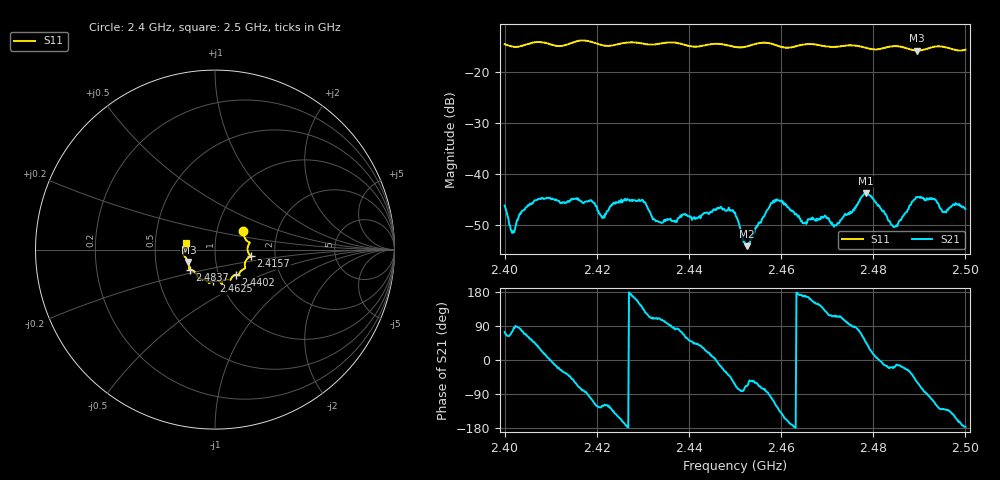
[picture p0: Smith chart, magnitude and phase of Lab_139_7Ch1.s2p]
# Hz S RI R 50
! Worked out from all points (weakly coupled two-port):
!   601 points, 2.4 GHz to 2.5 GHz, reference 50 ohm
!   highest |S21| = -43.69 dB at 2.4783 GHz (marker M1); lowest = -54.1 dB at 2.4525 GHz (marker M2)
!   lowest |S11| = -15.7 dB at 2.4895 GHz (marker M3), VSWR 1.39, Z = 36.8 - j5.16 ohm
!   |S11| at or under -10 dB: start of sweep to end of sweep
!   S12 and S22 are empty: the file has one direction only
!   S11 on the Smith chart (normalised r, x): 2.4 GHz: 1.33, +0.29; 2.4157 GHz: 1.49, -0.11; 2.4402 GHz: 1.20, -0.35; 2.4625 GHz: 0.92, -0.34; 2.4837 GHz: 0.74, -0.17; 2.5 GHz: 0.72, +0.05
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2.4e9  0.1566 0.1058  0.00139 0.00475  0 0  0 0
2.401833e9  0.1603 0.0783  0.000488 0.00273  0 0  0 0
2.406833e9  0.194 0.0389  0.00419 0.00368  0 0  0 0
2.415667e9  0.1988 -0.0365  0.00248 -0.00531  0 0  0 0
2.416667e9  0.2016 -0.0398  0.00114 -0.00531  0 0  0 0
2.421333e9  0.175 -0.0566  -0.00197 -0.00318  0 0  0 0
2.423833e9  0.1656 -0.0832  -0.00402 -0.00338  0 0  0 0
2.4295e9  0.1598 -0.1087  -0.00443 0.00324  0 0  0 0
2.433333e9  0.1355 -0.1337  -0.00115 0.00326  0 0  0 0
2.440167e9  0.1143 -0.1404  0.00241 0.00298  0 0  0 0
2.45e9  0.0642 -0.1657  0.00185 -0.00381  0 0  0 0
2.4525e9  0.0429 -0.1742  0.000721 -0.00184  0 0  0 0
2.458167e9  0.0351 -0.1862  -0.0014 -0.00513  0 0  0 0
2.4625e9  -0.0099 -0.1769  -0.00437 -0.000588  0 0  0 0
2.466667e9  -0.0334 -0.1865  -0.00334 0.00137  0 0  0 0
2.472e9  -0.068 -0.1649  -0.00137 0.00285  0 0  0 0
2.478333e9  -0.1011 -0.1419  0.00441 0.00483  0 0  0 0
2.483333e9  -0.1381 -0.1121  0.00329 -0.00119  0 0  0 0
2.483667e9  -0.1401 -0.1116  0.00322 -0.00112  0 0  0 0
2.485e9  -0.1442 -0.1091  0.00308 -0.000694  0 0  0 0
2.4895e9  -0.1484 -0.0684  0.00314 -0.00507  0 0  0 0
2.5e9  -0.163 0.0361  -0.00455 -0.000302  0 0  0 0
